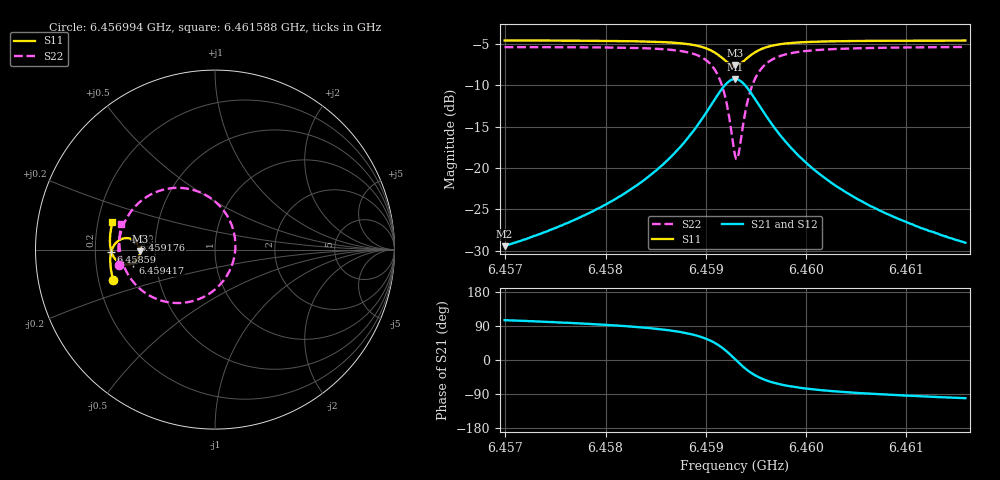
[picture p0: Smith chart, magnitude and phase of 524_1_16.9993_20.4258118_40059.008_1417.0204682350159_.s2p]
#  HZ  S  RI  R  50.00
! Rohde & Schwarz Vector Network Analyzer
! Rohde-Schwarz,ZNB20-2Port,1311601062101988,3.16
! Created: UTC 3/20/2024, 11:15:37 PM
! freq[Hz]  re:S11  im:S11  re:S21  im:S21  re:S12  im:S12  re:S22  im:S22
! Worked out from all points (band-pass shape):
!   401 points, 6.456994 GHz to 6.461588 GHz, reference 50 ohm
!   highest |S21| = -9.22 dB at 6.459291 GHz (marker M1); lowest = -29.5 dB at 6.456994 GHz (marker M2)
!   |S21| within 3 dB of the highest: 6.459061 GHz to 6.459521 GHz (459.9 kHz wide, 0.00712 % of centre)
!   lowest |S11| = -7.6 dB at 6.459291 GHz (marker M3), VSWR 2.44, Z = 20.5 - j0.467 ohm
!   |S11| at or under -10 dB: nowhere
!   |S22| runs from -18.9 to -5.3 dB; largest |S21 - S12| = 0.014
!   S11 on the Smith chart (normalised r, x): 6.456994 GHz: 0.26, -0.14; 6.45859 GHz: 0.27, -0.01; 6.459176 GHz: 0.37, +0.05; 6.459417 GHz: 0.37, -0.07; 6.461588 GHz: 0.26, +0.12
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6.4569939e9  -0.567 -0.1709  -0.00877 0.0324  -0.00705 0.0324  -0.533 -0.0834
6.4577634e9  -0.581 -0.1035  -0.00548 0.0504  -0.00288 0.0499  -0.5381 0.00688
6.4581654e9  -0.5838 -0.0634  -2.48e-05 0.0686  0.00327 0.0673  -0.5307 0.07
6.458533e9  -0.5797 -0.0198  0.0145 0.099  0.0184 0.0961  -0.504 0.1522
6.4585904e9  -0.5779 -0.0119  0.0188 0.1057  0.0228 0.1026  -0.4959 0.1686
6.4587971e9  -0.5648 0.0203  0.0464 0.1382  0.0506 0.1333  -0.444 0.2413
6.4589464e9  -0.5422 0.0465  0.0919 0.1686  0.0951 0.1619  -0.3601 0.3058
6.4590842e9  -0.4984 0.0639  0.1792 0.185  0.1801 0.1776  -0.2004 0.344
6.4591761e9  -0.4538 0.0536  0.269 0.1534  0.2693 0.1477  -0.0338 0.2933
6.459245e9  -0.4249 0.0216  0.3295 0.0815  0.3317 0.0763  0.0816 0.1633
6.459291e9  -0.4179 -0.00938  0.3457 0.0135  0.3494 0.00651  0.1137 0.036
6.4593025e9  -0.4184 -0.0174  0.3455 -0.0043  0.3495 -0.0119  0.1134 0.00234
6.4593254e9  -0.4219 -0.0331  0.34 -0.039  0.3439 -0.048  0.102 -0.0636
6.4593714e9  -0.4375 -0.0592  0.3112 -0.099  0.3135 -0.1109  0.044 -0.1769
6.4594173e9  -0.4596 -0.0754  0.2691 -0.14  0.2683 -0.1532  -0.0415 -0.252
6.4595092e9  -0.5029 -0.0823  0.1841 -0.171  0.178 -0.1826  -0.2109 -0.2978
6.4596585e9  -0.5468 -0.0618  0.0962 -0.157  0.0876 -0.1633  -0.3788 -0.2479
6.4598193e9  -0.5682 -0.0341  0.0512 -0.129  0.0436 -0.1318  -0.4593 -0.1754
6.4600605e9  -0.5811 0.00144  0.022 -0.0974  0.0163 -0.098  -0.5071 -0.0927
6.4603935e9  -0.5856 0.0412  0.00641 -0.0712  0.00242 -0.0707  -0.5283 -0.0154
6.46083e9  -0.5836 0.0852  -0.00145 -0.052  -0.00441 -0.0511  -0.5327 0.0549
6.461588e9  -0.5713 0.1523  -0.00656 -0.0346  -0.00834 -0.0337  -0.5211 0.1446
